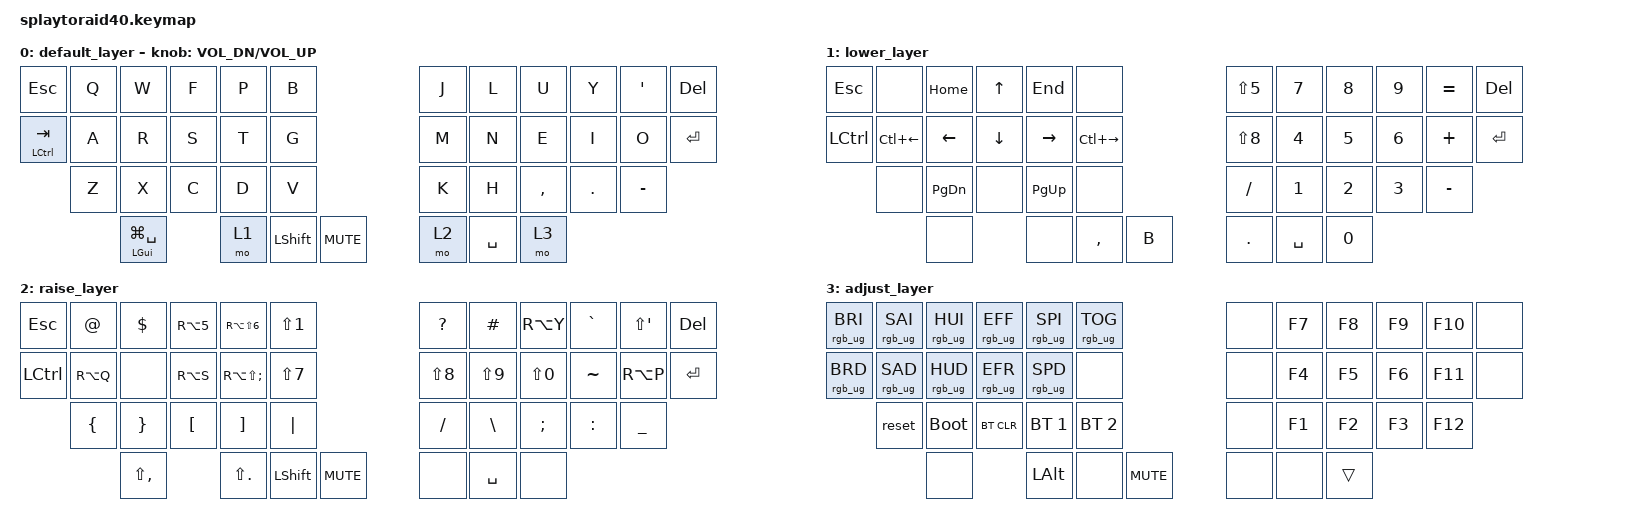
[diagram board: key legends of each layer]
/*
 * Copyright (c) 2021 The ZMK Contributors
 *
 * SPDX-License-Identifier: MIT
 */

#include <behaviors.dtsi>
#include <dt-bindings/zmk/keys.h>
#include <dt-bindings/zmk/bt.h>
#include <dt-bindings/zmk/rgb.h>
#include <dt-bindings/zmk/outputs.h>

#define nubs NON_US_BSLH
#define sqot SINGLE_QUOTE

&mt     {
        retro-tap;
         };

&sl     {
         release-after-ms = <150>;
         };

//&kscan {
//         debounce-period = <10>;
//        };

/ {
        combos {
                compatible = "zmk,combos";
                combo_bksp {
                        timeout-ms = <30>;
                        key-positions = <19 20>;
                        bindings = <&kp BACKSPACE>;
                };
                combo_backwards_del {
                        timeout-ms = <45>;
                        key-positions = <19 20 21>;
                        bindings = <&kp LC(BACKSPACE)>;
                };
                combo_capslock {
                        timeout-ms = <50>;
                        key-positions = <16 19>;
                        bindings = <&kp CAPSLOCK>;
                };
                combo_tab {
                        timeout-ms = <50>;
                        key-positions = <15 16>;
                        bindings = <&kp TAB>;
                };
                combo_adj {
                        timeout-ms = <50>;
                        key-positions = <37 39>;
                        bindings = <&mo 4>;
                };
        };

        keymap {
                compatible = "zmk,keymap";

                default_layer {
//          -----------------------------------------               -----------------------------------------
// ---------|   Q   |   W   |   E   |   R   |   T   |     split     |   Y   |   U   |   I   |   O   |   P   |---------
// |  ESC   |----------------------------------------               ----------------------------------------|   DEL  |
// ---------|   A   |   S   |   D   |   F   |   G   |     split     |   H   |   J   |   K   |   L   |   '   |---------
// |  CTRL  |----------------------------------------               ----------------------------------------|   RET  |
// ---------|   Z   |   X   |   C   |   D   |   V   |     split     |   K   |   H   |   ,   |   .   |   -   |---------
//          -------------------------------------------------------------------------------------------------
//                          |  LGUI | LOWER | LSHFT |    ENC MUTE   | RAISE |  SPC  | ADJUST|
//                          -----------------------------------------------------------------
      bindings = <
    &kp ESC       &kp Q  &kp W   &kp F    &kp P  &kp B     /*split*/    &kp J  &kp L   &kp U     &kp Y   &kp SQT &kp DEL
    &mt LCTRL TAB &kp A  &kp R   &kp S    &kp T  &kp G     /*split*/    &kp M  &kp N   &kp E     &kp I   &kp O   &kp RET
                  &kp Z  &kp X   &kp C    &kp D  &kp V     /*split*/    &kp K  &kp H   &kp COMMA &kp DOT &kp MINUS 
                       &mt LGUI LG(SPACE) &mo 1  &kp LSHFT  &kp C_MUTE  &mo 2  &kp SPACE &mo 3

                        >;
                sensor-bindings = <&inc_dec_kp C_VOL_DN C_VOL_UP>;
                };

                lower_layer {
//          -----------------------------------------               ----------------------------------------- 
// ---------|       |  HOME |   UP  |  END  |       |     split     |   %   |   7   |   8   |   9   |   =   |---------
// |  ESC   |----------------------------------------               ----------------------------------------|   DEL  |
// ---------| C LEFT|  LEFT | DOWN  | RIGHT |C RIGHT|     split     |   *   |   4   |   5   |   6   |   +   |---------
// |  CTRL  |----------------------------------------               ----------------------------------------|   RET  |
// ---------|       |  PGDN |       |  PGUP |       |     split     |   /   |   1   |   2   |   3   |   -   |---------
//          -----------------------------------------               -----------------------------------------
//                          |       |       |   ,   |     split     |   .   |  SPC  |   0   |
//                          -------------------------               -------------------------
      bindings = <
    &kp ESC   &none        &kp HOME  &kp UP   &kp END   &none         /*split*/   &kp LS(N5) &kp N7 &kp N8 &kp N9 &kp EQUAL  &kp DEL
    &kp LCTRL &kp LC(LEFT) &kp LEFT  &kp DOWN &kp RIGHT &kp LC(RIGHT) /*split*/   &kp LS(N8) &kp N4 &kp N5 &kp N6 &kp PLUS   &kp RET
              &none        &kp PG_DN &none    &kp PG_UP &none         /*split*/   &kp SLASH  &kp N1 &kp N2 &kp N3 &kp MINUS 
                                     &none    &none     &kp COMMA     &kp B   &kp DOT    &kp SPACE &kp N0 

                        >;

                };

                raise_layer {
//          -----------------------------------------               -----------------------------------------
// ---------|   @   |   $   |   €   |   ^   |   !   |     split     |   ?   |   ü   |   #   |   ö   |   `   |---------
// |  ESC   |----------------------------------------               ----------------------------------------|   DEL  |
// ---------|   ä   |   ß   |       |   °   |   &   |     split     |   *   |   (   |   )   |   ~   |   "   |---------
// |  CTRL  |----------------------------------------               ----------------------------------------|   RET  |
// ---------|   {   |   }   |   [   |   ]   |   |   |     split     |   /   |   \   |   ;   |   :   |   _   |---------
//          -------------------------------------------------------------------------------------------------
//                          |   <   |   >   | LSHIFT|    ENC MUTE   |       |  SPC  |       |
//                          -----------------------------------------------------------------
      bindings = <
    &kp ESC   &kp AT    &kp DOLLAR &kp RA(N5)    &kp RA(LS(N6))   &kp LS(N1)   /*split*/   &kp QUESTION &kp HASH   &kp RA(Y)     &kp GRAVE  &kp LS(SQT) &kp DEL
    &kp LCTRL &kp RA(Q) &none      &kp RA(S)     &kp RA(LS(SEMI)) &kp LS(N7)   /*split*/   &kp LS(N8)   &kp LS(N9) &kp LS(N0)    &kp TILDE  &kp RA(P)   &kp RET
              &kp LBRC  &kp RBRC   &kp LBKT      &kp RBKT         &kp PIPE     /*split*/   &kp SLASH    &kp BSLH   &kp SEMICOLON &kp COLON  &kp UNDER 
                                   &kp LS(COMMA) &kp LS(DOT)      &kp LSHFT    &kp C_MUTE  &none        &kp SPACE  &none

                        >;
                        
                };

                adjust_layer {
//          -----------------------------------------               -----------------------------------------
// ---------|  SAT+ |  HUE+ |  ANI+ |  SPI  |  TOG  |     split     |  BT1  |  BT2  |  BT3  |  BT4  |  BT5  |---------
// |  BRI+  |----------------------------------------               ----------------------------------------| BT CLR |
// ---------|  SAT- |  HUE- |  ANI+ |  SPD  |       |     split     |       |       |       |       |       |---------
// |  BRI-  |----------------------------------------               ----------------------------------------|        |
// ---------| RESET |  BOOT | BT CLR|  BT1  |  BT2  |     split     |       |   F1  |   F2  |   F3  |  F12  |---------
//          -----------------------------------------               -----------------------------------------
//                          |       |  LALT |       |     split     |       |       |       |
//                          -------------------------               -------------------------
      bindings = <
    &rgb_ug RGB_BRI &rgb_ug RGB_SAI &rgb_ug RGB_HUI &rgb_ug RGB_EFF &rgb_ug RGB_SPI &rgb_ug RGB_TOG  /*split*/   &none  &kp F7  &kp F8  &kp F9  &kp F10  &none
    &rgb_ug RGB_BRD &rgb_ug RGB_SAD &rgb_ug RGB_HUD &rgb_ug RGB_EFR &rgb_ug RGB_SPD &none            /*split*/   &none  &kp F4  &kp F5  &kp F6  &kp F11  &none
                    &reset          &bootloader     &bt BT_CLR      &bt BT_SEL 1    &bt BT_SEL 2     /*split*/   &none  &kp F1  &kp F2  &kp F3  &kp F12
                                                    &none           &kp LALT        &none            &kp C_MUTE  &none  &none   &trans
                        >;

                };
        };
};
